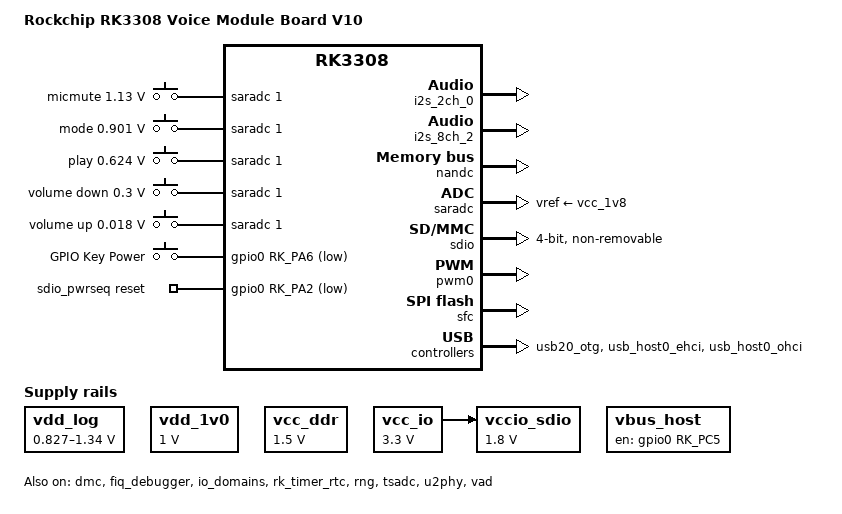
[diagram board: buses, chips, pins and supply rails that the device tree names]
// SPDX-License-Identifier: (GPL-2.0+ OR MIT)
/*
 * Copyright (c) 2018 Fuzhou Rockchip Electronics Co., Ltd
 */

#include <dt-bindings/input/input.h>
#include "arm64/rockchip/rk3308.dtsi"

/ {
	model = "Rockchip RK3308 Voice Module Board V10";
	compatible = "rockchip,rk3308-vmb-v10", "rockchip,rk3308";

	chosen {
		bootargs = "earlycon=uart8250,mmio32,0xff0c0000 console=ttyFIQ0 root=PARTUUID=614e0000-0000 rootfstype=squashfs rootwait snd_aloop.index=7 snd_aloop.use_raw_jiffies=1";
	};

	adc-keys {
		compatible = "adc-keys";
		io-channels = <&saradc 1>;
		io-channel-names = "buttons";
		poll-interval = <100>;
		keyup-threshold-microvolt = <1800000>;

		esc-key {
			linux,code = <KEY_MICMUTE>;
			label = "micmute";
			press-threshold-microvolt = <1130000>;
		};

		home-key {
			linux,code = <KEY_MODE>;
			label = "mode";
			press-threshold-microvolt = <901000>;
		};

		menu-key {
			linux,code = <KEY_PLAY>;
			label = "play";
			press-threshold-microvolt = <624000>;
		};

		vol-down-key {
			linux,code = <KEY_VOLUMEDOWN>;
			label = "volume down";
			press-threshold-microvolt = <300000>;
		};

		vol-up-key {
			linux,code = <KEY_VOLUMEUP>;
			label = "volume up";
			press-threshold-microvolt = <18000>;
		};
	};

	dummy_codec: dummy-codec {
		compatible = "rockchip,dummy-codec";
		#sound-dai-cells = <0>;
	};

	gpio-keys {
		compatible = "gpio-keys";
		autorepeat;

		pinctrl-names = "default";
		pinctrl-0 = <&pwr_key>;

		power {
			gpios = <&gpio0 RK_PA6 GPIO_ACTIVE_LOW>;
			linux,code = <KEY_POWER>;
			label = "GPIO Key Power";
			wakeup-source;
			debounce-interval = <100>;
		};
	};

	sdio_pwrseq: sdio-pwrseq {
		compatible = "mmc-pwrseq-simple";
		pinctrl-names = "default";
		pinctrl-0 = <&wifi_enable_h>;

		/*
		 * On the module itself this is one of these (depending
		 * on the actual card populated):
		 * - SDIO_RESET_L_WL_REG_ON
		 * - PDN (power down when low)
		 */
		reset-gpios = <&gpio0 RK_PA2 GPIO_ACTIVE_LOW>;
	};

	acodec_sound: acodec-sound {
		compatible = "rockchip,multicodecs-card";
		rockchip,card-name = "rockchip,rk3308-acodec";
		rockchip,codec-hp-det;
		rockchip,mclk-fs = <256>;
		rockchip,cpu = <&i2s_8ch_2>;
		rockchip,codec = <&acodec>;
		status = "disabled";
	};

	bluetooth_sound: bluetooth-sound {
		status = "disabled";
		compatible = "rockchip,multicodecs-card";
		rockchip,card-name = "rockchip,rk3308-pcm";
		rockchip,mclk-fs = <128>;
		rockchip,cpu = <&i2s_2ch_0>;
		rockchip,codec = <&dummy_codec>;
		rockchip,format = "dsp_b";
		rockchip,wait-card-locked = <0>;
	};

	spdif_tx_sound: spdif-tx-sound {
		status = "disabled";
		compatible = "simple-audio-card";
		simple-audio-card,name = "rockchip,spdif-tx-sound";
		simple-audio-card,cpu {
			sound-dai = <&spdif_tx>;
		};
		simple-audio-card,codec {
			sound-dai = <&dummy_codec>;
		};
	};

	vad-sound {
		status = "okay";
		compatible = "rockchip,multicodecs-card";
		rockchip,card-name = "rockchip,rk3308-vad";
		rockchip,codec-hp-det;
		rockchip,cpu = <&i2s_8ch_2>;
		rockchip,codec = <&acodec>, <&vad>;
	};

	vdd_log: vdd_core: vdd-core {
		compatible = "pwm-regulator";
		pwms = <&pwm0 0 5000 1>;
		regulator-name = "vdd_core";
		regulator-min-microvolt = <827000>;
		regulator-max-microvolt = <1340000>;
		regulator-init-microvolt = <1015000>;
		regulator-always-on;
		regulator-boot-on;
		regulator-settling-time-up-us = <250>;
		status = "okay";
	};

	vdd_1v0: vdd-1v0 {
		compatible = "regulator-fixed";
		regulator-name = "vdd_1v0";
		regulator-always-on;
		regulator-boot-on;
		regulator-min-microvolt = <1000000>;
		regulator-max-microvolt = <1000000>;
	};

	vccio_sdio: vcc_1v8: vcc-1v8 {
		compatible = "regulator-fixed";
		regulator-name = "vcc_1v8";
		regulator-always-on;
		regulator-boot-on;
		regulator-min-microvolt = <1800000>;
		regulator-max-microvolt = <1800000>;
		vin-supply = <&vcc_io>;
	};

	vcc_ddr: vcc-ddr {
		compatible = "regulator-fixed";
		regulator-name = "vcc_ddr";
		regulator-always-on;
		regulator-boot-on;
		regulator-min-microvolt = <1500000>;
		regulator-max-microvolt = <1500000>;
	};

	vcc_io: vcc-io {
		compatible = "regulator-fixed";
		regulator-name = "vcc_io";
		regulator-always-on;
		regulator-boot-on;
		regulator-min-microvolt = <3300000>;
		regulator-max-microvolt = <3300000>;
	};

	vbus_host: vbus-host-regulator {
		compatible = "regulator-fixed";
		enable-active-high;
		gpio = <&gpio0 RK_PC5 GPIO_ACTIVE_HIGH>;
		pinctrl-names = "default";
		pinctrl-0 = <&usb_drv>;
		regulator-name = "vbus_host";
	};
};

&acodec {
	status = "disabled";

	rockchip,no-hp-det;
	rockchip,delay-start-play-ms = <200>;
	rockchip,loopback-grp = <1>;
	spk-ctl-gpios = <&gpio0 RK_PA5 GPIO_ACTIVE_HIGH>;
};

&cpu0 {
	cpu-supply = <&vdd_core>;
};

&dmc {
	center-supply = <&vdd_log>;
	status = "okay";
};

&fiq_debugger {
	status = "okay";
};

&io_domains {
	status = "okay";

	vccio0-supply = <&vcc_io>;
	vccio1-supply = <&vcc_io>;
	vccio2-supply = <&vcc_1v8>;
	vccio3-supply = <&vcc_io>;
	vccio4-supply = <&vccio_sdio>;
	vccio5-supply = <&vcc_io>;
};

&i2s_2ch_0 {
	status = "okay";
};

&i2s_8ch_2 {
	status = "okay";
};

&nandc {
	status = "okay";
};

&ramoops {
	reg = <0x0 0x30000 0x0 0x20000>;
	record-size = <0x00000>;
	console-size = <0x20000>;
};

&rk_timer_rtc {
	status = "okay";
};

&rockchip_suspend {
	rockchip,pwm-regulator-config = <
		(0
		| RKPM_PWM_REGULATOR
		)
	>;

	rockchip,wakeup-config = <
		(0
		| RKPM_GPIO0_WAKEUP_EN
		| RKPM_TIMER_WAKEUP_EN
		)
	>;

	status = "okay";
};

&rng {
	status = "okay";
};

&saradc {
	status = "okay";
	vref-supply = <&vcc_1v8>;
};

&sdio {
	max-frequency = <110000000>;
	bus-width = <4>;
	cap-sd-highspeed;
	no-sd;
	no-mmc;
	ignore-pm-notify;
	keep-power-in-suspend;
	non-removable;
	mmc-pwrseq = <&sdio_pwrseq>;
	sd-uhs-sdr104;
	status = "okay";
};

&sdmmc {
	bus-width = <4>;
	cap-mmc-highspeed;
	cap-sd-highspeed;
	no-sdio;
	no-mmc;
	card-detect-delay = <300>;
	status = "disabled";
};

&pinctrl {
	buttons {
		pwr_key: pwr-key {
			rockchip,pins = <0 RK_PA6 RK_FUNC_GPIO &pcfg_pull_up>;
		};
	};

	usb {
		usb_drv: usb-drv {
			rockchip,pins = <0 RK_PC5 RK_FUNC_GPIO &pcfg_pull_none>;
		};
	};

	sdio-pwrseq {
		wifi_enable_h: wifi-enable-h {
			rockchip,pins = <0 RK_PA2 RK_FUNC_GPIO &pcfg_pull_none>;
		};
	};

	wireless-wlan {
		wifi_wake_host: wifi-wake-host {
			rockchip,pins = <0 RK_PA0 RK_FUNC_GPIO &pcfg_pull_up>;
		};
	};
};

&pwm0 {
	status = "okay";
	pinctrl-names = "active";
	pinctrl-0 = <&pwm0_pin_pull_down>;
};

&sfc {
	u-boot,dm-pre-reloc;
	status = "okay";
};

&tsadc {
	rockchip,hw-tshut-mode = <0>; /* tshut mode 0:CRU 1:GPIO */
	rockchip,hw-tshut-polarity = <1>; /* tshut polarity 0:LOW 1:HIGH */
	status = "okay";
};

&u2phy {
	status = "okay";

	u2phy_host: host-port {
		phy-supply = <&vbus_host>;
		status = "okay";
	};

	u2phy_otg: otg-port {
		status = "okay";
	};
};

&usb20_otg {
	status = "okay";
};

&usb_host0_ehci {
	status = "okay";
};

&usb_host0_ohci{
	status = "okay";
};

&vad {
	status = "okay";
	rockchip,audio-src = <&i2s_8ch_2>;
	rockchip,det-channel = <0>;
	rockchip,mode = <1>;
	rockchip,buffer-time-ms = <500>;
	#sound-dai-cells = <0>;
};
